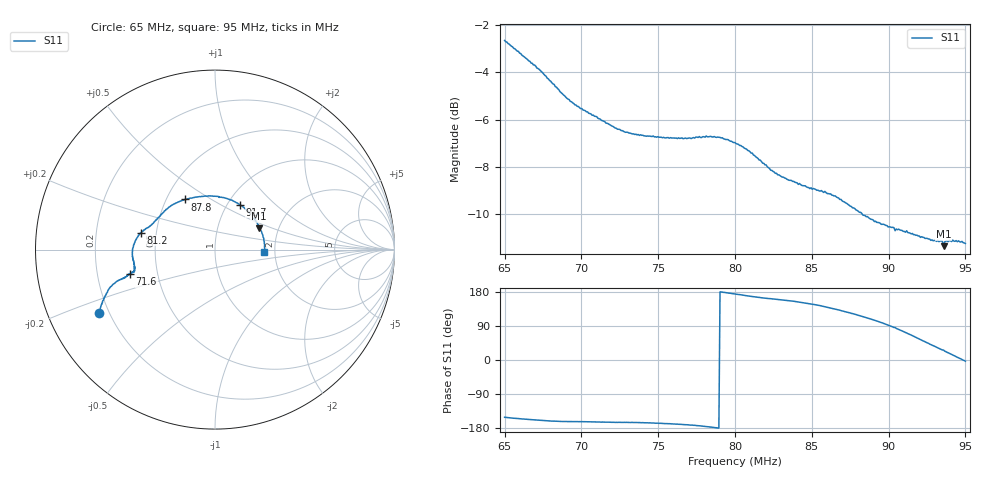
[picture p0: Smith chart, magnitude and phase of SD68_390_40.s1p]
! NanoVNA-App
! Date: 2025-08-02 15:52:26
! Start: 65MHz Stop: 95MHz Points: 401
! S-Parameter data: F S11
# Hz S RI R 50
!  Frequency  S11_Real  S11_Imag
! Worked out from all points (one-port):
!   401 points, 65 MHz to 95 MHz, reference 50 ohm
!   lowest |S11| = -11.4 dB at 93.58 MHz (marker M1), VSWR 1.74, Z = 78.9 + j20.3 ohm
!   |S11| at or under -10 dB: 88.29 MHz to end of sweep
!   S11 on the Smith chart (normalised r, x): 65 MHz: 0.16, -0.25; 71.6 MHz: 0.35, -0.12; 81.2 MHz: 0.41, +0.09; 87.8 MHz: 0.62, +0.39; 91.7 MHz: 1.14, +0.62; 95 MHz: 1.75, -0.06
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6.5e7  -0.6451 -0.3553
6.62e7  -0.6219 -0.2822
6.7625e7  -0.584 -0.2118
6.875e7  -0.5416 -0.173
6.98e7  -0.51 -0.1584
7.16e7  -0.4736 -0.135
7.25e7  -0.4603 -0.1273
7.43e7  -0.4484 -0.1141
7.625e7  -0.4488 -0.0854
7.7975e7  -0.4593 -0.04
7.9025e7  -0.4594 0.00204
8e7  -0.446 0.0449
8.12e7  -0.4112 0.0942
8.2475e7  -0.3685 0.1261
8.375e7  -0.3367 0.1557
8.5775e7  -0.2752 0.2188
8.6525e7  -0.2413 0.2477
8.75e7  -0.1848 0.2721
8.78e7  -0.1659 0.2794
8.8775e7  -0.0999 0.293
8.975e7  -0.0282 0.2989
9.065e7  0.0473 0.2903
9.125e7  0.1004 0.2713
9.17e7  0.1376 0.2511
9.2675e7  0.2083 0.1874
9.3575e7  0.2429 0.1194
9.4325e7  0.2725 0.0505
9.5e7  0.2739 -0.0153
